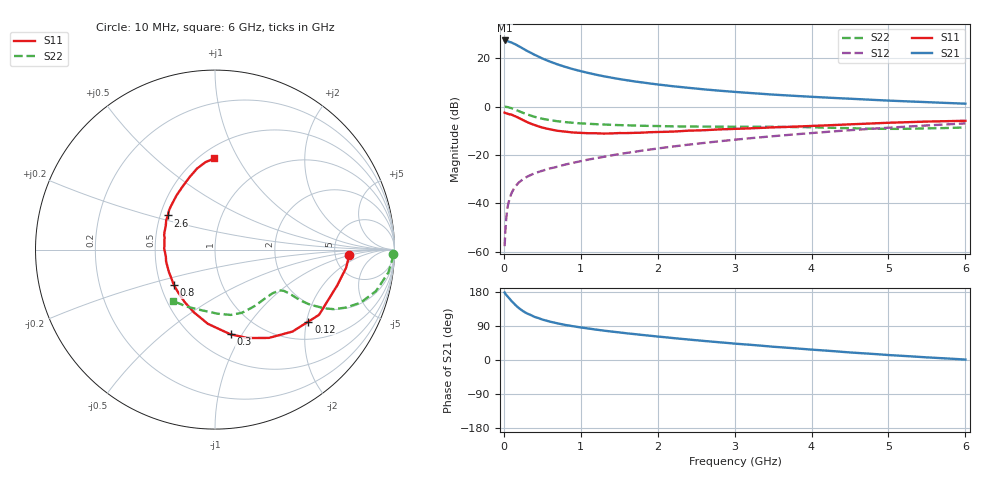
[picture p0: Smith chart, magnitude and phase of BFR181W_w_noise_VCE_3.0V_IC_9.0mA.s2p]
! (c) 2017  Infineon Technologies AG, Munich
! Infineon Technologies  Discrete & RF Semiconductors
! BFR181W
! VCE =  3.0 V,  IC =  9.0 mA
! Common Emitter S-Parameters:  Jan 2017
# GHz  S  MA  R  50
!  f  S11  S21  S12  S22
! GHz  MAG  ANG  MAG  ANG  MAG  ANG  MAG  ANG
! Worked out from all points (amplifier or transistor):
!   77 points, 10 MHz to 6 GHz, reference 50 ohm
!   highest |S21| = 27.3 dB at 10 MHz (marker M1)
!   |S21| within 3 dB of that: start of sweep to 229.2 MHz
!   unconditionally stable (mu >= 1): 1.012 GHz to 2.993 GHz
!   at 130 MHz: K = 0.26, MSG = 30.0 dB, |S12| = -34.0 dB
!   at 2.2 GHz: K = 1.06, MAG = 10.9 dB, |S12| = -16.5 dB
!   at 6 GHz: K = 0.84, MSG = 4.1 dB, |S12| = -7.0 dB
!   lowest NFmin = 1.18 dB at 450 MHz
!   S11 on the Smith chart (normalised r, x): 10 MHz: 6.79, -1.01; 120 MHz: 1.46, -2.05; 300 MHz: 0.73, -0.89; 800 MHz: 0.59, -0.26; 2.6 GHz: 0.55, +0.23; 6 GHz: 0.59, +0.80
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0.01  0.7482 -2.5  23.25 178.1  0.0013 85.6  0.9922 -1.5
0.02  0.7375 -7.9  23.16 174.7  0.0027 95.9  0.9909 -2.8
0.05  0.7098 -16.3  22.48 167.4  0.0086 80.7  0.974 -7.6
0.1  0.6842 -32.1  21.08 155.4  0.0162 75.9  0.9257 -14.5
0.12  0.6569 -37.6  20.32 151.5  0.0187 73.3  0.9 -16.6
0.15  0.6285 -46.6  19.36 145.2  0.0225 70.4  0.864 -20.0
0.2  0.5765 -58.6  17.47 136.2  0.0274 66.9  0.7992 -23.8
0.25  0.5253 -69.7  15.77 128.9  0.0315 63.4  0.7413 -26.6
0.3  0.48 -79.6  14.2 122.9  0.0353 61.1  0.6898 -28.3
0.4  0.4154 -95.5  11.75 113.7  0.0418 60.2  0.613 -30.1
0.5  0.3684 -108.7  9.868 106.8  0.0471 59.8  0.5598 -30.7
0.6  0.3381 -119.9  8.495 101.2  0.0526 60.2  0.5226 -30.7
0.7  0.3153 -130.3  7.423 96.6  0.0572 62.0  0.4964 -30.6
0.8  0.303 -139.0  6.603 92.5  0.0634 63.0  0.4764 -30.6
1.1  0.2811 -160.8  4.941 83.1  0.0802 64.9  0.4408 -31.3
1.5  0.2832 179.1  3.709 72.8  0.1041 66.4  0.4133 -34.3
2.1  0.3005 157.6  2.744 60.0  0.1426 66.3  0.3925 -42.4
2.6  0.3241 144.1  2.269 50.3  0.1768 64.8  0.3847 -51.2
3.1  0.3498 133.0  1.958 41.7  0.2136 62.5  0.3819 -60.1
4.1  0.403 115.0  1.561 26.0  0.2913 56.0  0.3699 -78.6
5.1  0.4675 101.2  1.308 11.9  0.3733 47.7  0.3458 -104.5
6  0.5087 90.4  1.146 1.2  0.4488 39.0  0.3704 -129.6
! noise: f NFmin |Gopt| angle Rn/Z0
0.45  1.18  0.17  16  0.21
0.9  1.23  0.16  31  0.21
1.9  1.65  0.05  107  0.2
2.4  1.82  0.03  116  0.23
